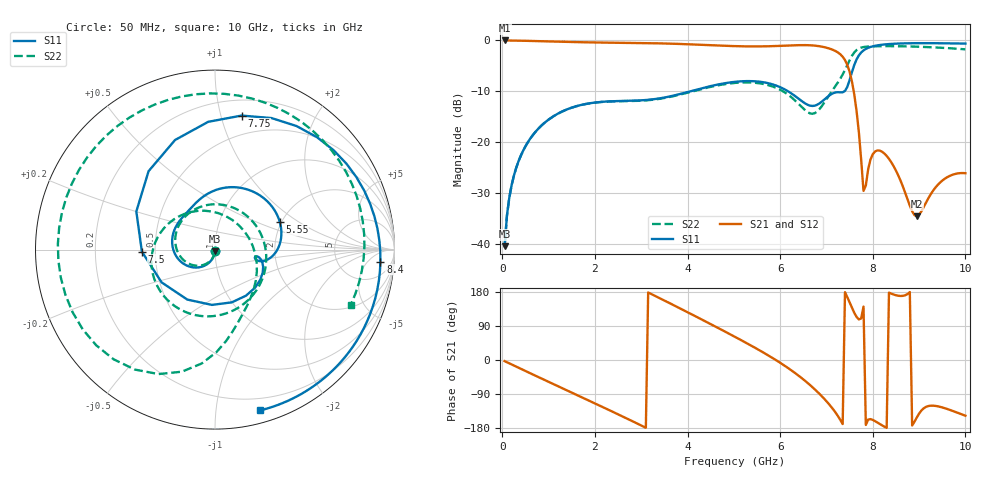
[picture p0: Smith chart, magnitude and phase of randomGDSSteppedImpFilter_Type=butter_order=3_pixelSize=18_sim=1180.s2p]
! freq	dB(S11)	phase(S11)	dB(S12)	phase(S12)
!  dB(S21)	phase(S21)	dB(S22)	phase(S22)
!S-par simulation data
#  GHz  S  DB  R 50
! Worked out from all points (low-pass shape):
!   200 points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, 50 MHz to 10 GHz, reference 50 ohm
!   highest |S21| = -0.01 dB at 50 MHz (marker M1); lowest = -34.6 dB at 8.95 GHz (marker M2)
!   |S21| within 3 dB of the highest: start of sweep to 7.329 GHz
!   lowest |S11| = -40.5 dB at 50 MHz (marker M3), VSWR 1.02, Z = 50 - j0.944 ohm
!   |S11| at or under -10 dB: start of sweep to 4.066 GHz; 6.168 GHz to 7.389 GHz (1.221 GHz wide, 18 % of centre)
!   |S22| runs from -40.5 to -1.1 dB; largest |S21 - S12| = 0
!   S11 on the Smith chart (normalised r, x): 50 MHz: 1.00, -0.02; 5.55 GHz: 1.96, +0.72; 7.5 GHz: 0.42, -0.01; 7.75 GHz: 0.33, +1.16; 8.4 GHz: 14, -13; 10 GHz: 0.10, -1.31
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0.05  -40.49 -91.3  -0.01 -3.0  -0.01 -3.0  -40.50 -91.6
0.2  -28.54 -101.0  -0.03 -11.7  -0.03 -11.7  -28.55 -102.2
0.5  -20.84 -117.8  -0.08 -29.0  -0.08 -29.0  -20.85 -121.1
1.75  -12.60 178.4  -0.36 -100.3  -0.36 -100.3  -12.62 159.4
2.65  -11.91 141.9  -0.48 -152.1  -0.48 -152.1  -11.95 92.5
3.4  -11.40 118.9  -0.58 163.1  -0.58 163.1  -11.49 26.0
4.25  -9.55 88.8  -0.84 110.5  -0.84 110.5  -9.69 -48.6
5.05  -8.13 50.1  -1.13 59.4  -1.13 59.4  -8.34 -111.0
5.55  -8.12 23.2  -1.18 25.9  -1.18 25.9  -8.44 -150.3
6.15  -9.90 -6.9  -1.01 -19.4  -1.01 -19.4  -10.54 150.9
6.7  -12.90 -11.1  -0.99 -72.0  -0.99 -72.0  -14.43 46.0
7  -11.27 -15.1  -1.43 -108.8  -1.43 -108.8  -11.59 -27.7
7.25  -10.19 -56.1  -2.39 -148.4  -2.39 -148.4  -8.22 -66.2
7.5  -7.80 -178.4  -6.17 151.9  -6.17 151.9  -3.89 -96.7
7.75  -2.37 78.8  -23.58 109.7  -23.58 109.7  -1.41 -141.1
7.8  -1.96 66.8  -29.61 140.9  -29.61 140.9  -1.31 -149.0
8  -1.16 33.2  -22.40 -158.1  -22.40 -158.1  -1.16 -176.0
8.35  -0.72 -0.5  -23.30 177.8  -23.30 177.8  -1.13 144.2
8.4  -0.69 -4.1  -23.98 175.1  -23.98 175.1  -1.13 138.9
8.95  -0.54 -35.0  -34.61 -151.8  -34.61 -151.8  -1.23 81.4
9.5  -0.56 -57.4  -27.60 -125.1  -27.60 -125.1  -1.45 25.7
10  -0.63 -74.4  -26.13 -147.0  -26.13 -147.0  -1.76 -22.2
